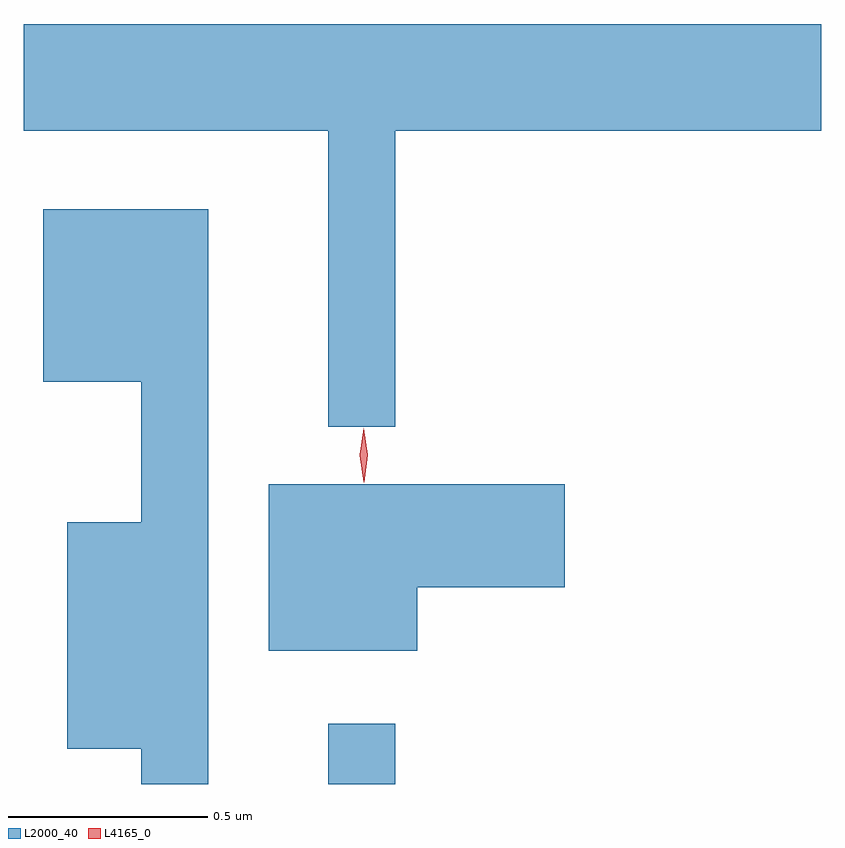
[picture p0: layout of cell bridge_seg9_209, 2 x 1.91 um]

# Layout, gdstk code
import gdstk
lib = gdstk.Library(unit=1e-6, precision=1e-09)
def R(c, l, rs):  # rectangles x0, y0, x1, y1
    for r in rs: c.add(gdstk.rectangle(r[:2], r[2:], *l))
def P(c, l, *ps):  # polygons
    for p in ps: c.add(gdstk.Polygon(p, *l))
L2000_40 = (2000, 40)
L4165_0 = (4165, 0)

bridge_seg9_209 = lib.new_cell('bridge_seg9_209')
R(bridge_seg9_209, L2000_40, [(1092.911,2005.717,1093.079,2005.868)])
P(bridge_seg9_209, L2000_40, [(1093.079,2007.356),(1094.147,2007.356),(1094.147,2007.624),(1092.147,2007.624),(1092.147,2007.356),(1092.911,2007.356),(1092.911,2006.613),(1093.079,2006.613)],
  [(1092.609,2007.159),(1092.196,2007.159),(1092.196,2006.726),(1092.441,2006.726),(1092.441,2006.374),(1092.256,2006.374),(1092.256,2005.806),(1092.441,2005.806),(1092.441,2005.717),(1092.609,2005.717)],
  [(1093.134,2006.211),(1093.504,2006.211),(1093.504,2006.469),(1092.761,2006.469),(1092.761,2006.051),(1093.134,2006.051)])
P(bridge_seg9_209, L4165_0, [(1093,2006.474),(1093,2006.474),(1092.99,2006.542),(1092.999,2006.61),(1093,2006.61),(1093,2006.61),(1093.01,2006.542),(1093.001,2006.474)],
  [(1093,2006.48),(1093,2006.48),(1092.99,2006.543),(1092.999,2006.606),(1093,2006.607),(1093,2006.606),(1093.01,2006.543),(1093,2006.48)])

lib.write_gds('bridge_seg9_209.gds')
